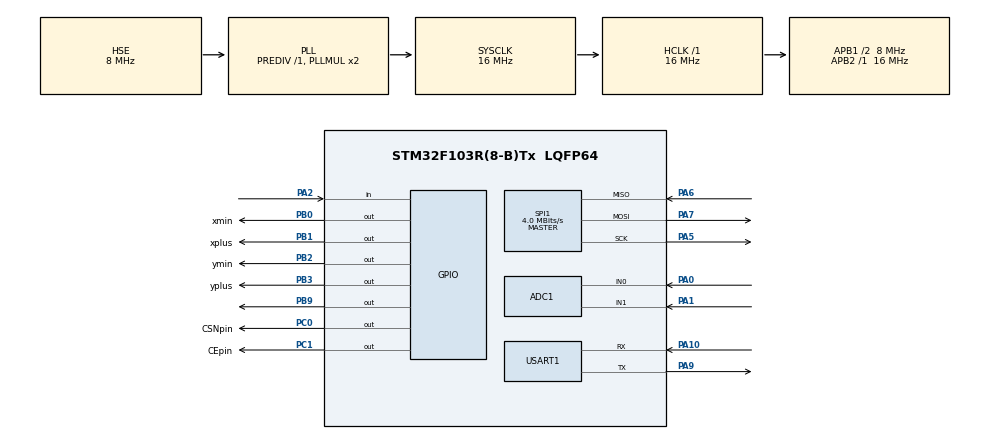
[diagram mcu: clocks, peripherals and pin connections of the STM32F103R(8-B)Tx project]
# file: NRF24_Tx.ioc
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ADC1.Channel-0\#ChannelRegularConversion=ADC_CHANNEL_0
ADC1.Channel-1\#ChannelRegularConversion=ADC_CHANNEL_1
ADC1.ContinuousConvMode=ENABLE
ADC1.NbrOfConversion=2
ADC1.NbrOfConversionFlag=1
ADC1.Rank-0\#ChannelRegularConversion=1
ADC1.Rank-1\#ChannelRegularConversion=2
ADC1.SamplingTime-0\#ChannelRegularConversion=ADC_SAMPLETIME_239CYCLES_5
ADC1.SamplingTime-1\#ChannelRegularConversion=ADC_SAMPLETIME_239CYCLES_5
ADC1.master=1
Dma.ADC1.0.Direction=DMA_PERIPH_TO_MEMORY
Dma.ADC1.0.Instance=DMA1_Channel1
Dma.ADC1.0.MemDataAlignment=DMA_MDATAALIGN_WORD
Dma.ADC1.0.MemInc=DMA_MINC_ENABLE
Dma.ADC1.0.Mode=DMA_CIRCULAR
Dma.ADC1.0.PeriphDataAlignment=DMA_PDATAALIGN_WORD
Dma.ADC1.0.PeriphInc=DMA_PINC_DISABLE
Dma.ADC1.0.Priority=DMA_PRIORITY_LOW
Dma.Request0=ADC1
Mcu.Family=STM32F1
Mcu.Name=STM32F103R(8-B)Tx
Mcu.Package=LQFP64
NVIC.DMA1_Channel1_IRQn=true\:0\:0\:false\:false\:true\:false\:true\:true
NVIC.PriorityGroup=NVIC_PRIORITYGROUP_4
PA0-WKUP.Signal=ADCx_IN0
PA1.Signal=ADCx_IN1
PA10.Mode=Asynchronous
PA10.Signal=USART1_RX
PA13.Mode=Serial_Wire
PA13.Signal=SYS_JTMS-SWDIO
PA14.Mode=Serial_Wire
PA14.Signal=SYS_JTCK-SWCLK
PA2.GPIO_PuPd=GPIO_PULLUP
PA2.Signal=GPIO_Input
PA5.Mode=Full_Duplex_Master
PA5.Signal=SPI1_SCK
PA6.Mode=Full_Duplex_Master
PA6.Signal=SPI1_MISO
PA7.Mode=Full_Duplex_Master
PA7.Signal=SPI1_MOSI
PA9.Mode=Asynchronous
PA9.Signal=USART1_TX
PB0.GPIO_Label=xmin
PB0.Signal=GPIO_Output
PB1.GPIO_Label=xplus
PB1.Signal=GPIO_Output
PB2.GPIO_Label=ymin
PB2.Signal=GPIO_Output
PB3.GPIO_Label=yplus
PB3.Signal=GPIO_Output
PB9.Signal=GPIO_Output
PC0.GPIO_Label=CSNpin
PC0.Signal=GPIO_Output
PC1.GPIO_Label=CEpin
PC1.Signal=GPIO_Output
PD0-OSC_IN.Mode=HSE-External-Oscillator
PD0-OSC_IN.Signal=RCC_OSC_IN
PD1-OSC_OUT.Mode=HSE-External-Oscillator
PD1-OSC_OUT.Signal=RCC_OSC_OUT
ProjectManager.HeapSize=0x200
ProjectManager.StackSize=0x400
ProjectManager.TargetToolchain=MDK-ARM V5
RCC.AHBFreq_Value=16000000
RCC.APB1CLKDivider=RCC_HCLK_DIV2
RCC.APB1Freq_Value=8000000
RCC.APB1TimFreq_Value=16000000
RCC.APB2Freq_Value=16000000
RCC.APB2TimFreq_Value=16000000
RCC.HCLKFreq_Value=16000000
RCC.PLLSourceVirtual=RCC_PLLSOURCE_HSE
RCC.SYSCLKFreq_VALUE=16000000
RCC.SYSCLKSource=RCC_SYSCLKSOURCE_PLLCLK
RCC.USBFreq_Value=16000000
SH.ADCx_IN0.0=ADC1_IN0,IN0
SH.ADCx_IN1.0=ADC1_IN1,IN1
SPI1.BaudRatePrescaler=SPI_BAUDRATEPRESCALER_4
SPI1.CalculateBaudRate=4.0 MBits/s
SPI1.Direction=SPI_DIRECTION_2LINES
SPI1.Mode=SPI_MODE_MASTER
SPI1.VirtualType=VM_MASTER
USART1.VirtualMode=VM_ASYNC
board=custom

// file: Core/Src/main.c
/* USER CODE BEGIN Header */
/**
  ******************************************************************************
  * @file           : main.c
  * @brief          : Main program body
  ******************************************************************************
  * @attention
  *
  * Copyright (c) 2022 STMicroelectronics.
  * All rights reserved.
  *
  * This software is licensed under terms that can be found in the LICENSE file
  * in the root directory of this software component.
  * If no LICENSE file comes with this software, it is provided AS-IS.
  *
  ******************************************************************************
  */
/* USER CODE END Header */
#include "main.h"

/* USER CODE BEGIN Includes */
#include "MY_NRF24.h"
#include "Button.h"
/* USER CODE END Includes */

/* USER CODE BEGIN PTD */
typedef enum
{
	OTHER,
	JOYSTICK_Sta,
} JOYSTICK_State;
/* USER CODE END PTD */

ADC_HandleTypeDef hadc1;
DMA_HandleTypeDef hdma_adc1;

SPI_HandleTypeDef hspi1;

UART_HandleTypeDef huart1;

/* USER CODE BEGIN PV */
Button_Typdef but1;
JOYSTICK_State joy_state = OTHER;
uint32_t JOYSTICK[2];

uint8_t test;
uint64_t TxpipeAddrs = 0x11223344AA;
char myTxData[32];
char AckPayload[32];
/* USER CODE END PV */

void SystemClock_Config(void);
static void MX_GPIO_Init(void);
static void MX_DMA_Init(void);
static void MX_SPI1_Init(void);
static void MX_USART1_UART_Init(void);
static void MX_ADC1_Init(void);

/* USER CODE BEGIN 0 */

// ---------------------------- 1. ADC Processing and Return control characters --------------------------
uint8_t JOYSTICK_handle(void)
{
	if ((JOYSTICK[0] >= 2000 && JOYSTICK[0] <= 3000) && (JOYSTICK[1] >= 2000 && JOYSTICK[1] <= 3000))
	{
		HAL_GPIO_WritePin(xmin_GPIO_Port, xmin_Pin, GPIO_PIN_SET);
		HAL_GPIO_WritePin(xplus_GPIO_Port, xplus_Pin, GPIO_PIN_SET);
		HAL_GPIO_WritePin(ymin_GPIO_Port, ymin_Pin, GPIO_PIN_SET);
		HAL_GPIO_WritePin(yplus_GPIO_Port, yplus_Pin, GPIO_PIN_SET);
		return 'S';
	}

	if (JOYSTICK[0] < 2000 && JOYSTICK[1] >= 2000 && JOYSTICK[1] <= 3000)
	{
		HAL_GPIO_WritePin(xmin_GPIO_Port, xmin_Pin, GPIO_PIN_RESET);
		HAL_GPIO_WritePin(xplus_GPIO_Port, xplus_Pin, GPIO_PIN_SET);
		return 'R';
	}

	if (JOYSTICK[0] > 3000 && JOYSTICK[1] >= 2000 && JOYSTICK[1] <= 3000)
	{
		HAL_GPIO_WritePin(xmin_GPIO_Port, xmin_Pin, GPIO_PIN_SET);
		HAL_GPIO_WritePin(xplus_GPIO_Port, xplus_Pin, GPIO_PIN_RESET);
		return 'L';
	}

	if (JOYSTICK[1] < 2000 && JOYSTICK[0] >= 2000 && JOYSTICK[0] <= 3000)
	{
		HAL_GPIO_WritePin(ymin_GPIO_Port, ymin_Pin, GPIO_PIN_RESET);
		HAL_GPIO_WritePin(yplus_GPIO_Port, yplus_Pin, GPIO_PIN_SET);
		return 'B';
	}

	if (JOYSTICK[1] > 3000 && JOYSTICK[0] >= 2000 && JOYSTICK[0] <= 3000)
	{
		HAL_GPIO_WritePin(ymin_GPIO_Port, ymin_Pin, GPIO_PIN_SET);
		HAL_GPIO_WritePin(yplus_GPIO_Port, yplus_Pin, GPIO_PIN_RESET);
		return 'F';
	}
	return 0;
}
// -----------------------------------------------------------------------------------------------

// -------------- 2. Converting Button function bewteen Bluetooth and NRF24L01 --------------------
void	btn_pressing_callback(Button_Typdef *ButtonX)
{
	static uint8_t count_key = 0;
	switch (joy_state)
	{
		case OTHER:
		{
			if (count_key == 0)
			{
				joy_state = JOYSTICK_Sta;
				count_key = 1;
			}
			break;
		}
		case JOYSTICK_Sta:
		{
			if (count_key == 1)
			{
				joy_state = OTHER;
				count_key = 0;
				HAL_GPIO_WritePin(xmin_GPIO_Port, xmin_Pin, GPIO_PIN_RESET);
				HAL_GPIO_WritePin(xplus_GPIO_Port, xplus_Pin, GPIO_PIN_RESET);
				HAL_GPIO_WritePin(ymin_GPIO_Port, ymin_Pin, GPIO_PIN_RESET);
				HAL_GPIO_WritePin(yplus_GPIO_Port, yplus_Pin, GPIO_PIN_RESET);
			}
			break;
		}
	}
	HAL_GPIO_TogglePin(GPIOB, GPIO_PIN_9);
}
// -----------------------------------------------------------------------------------------------

/* USER CODE END 0 */

int main(void)
{

  /* MCU Configuration--------------------------------------------------------*/

  /* Reset of all peripherals, Initializes the Flash interface and the Systick. */
  HAL_Init();

  /* Configure the system clock */
  SystemClock_Config();

  /* Initialize all configured peripherals */
  MX_GPIO_Init();
  MX_DMA_Init();
  MX_SPI1_Init();
  MX_USART1_UART_Init();
  MX_ADC1_Init();
  /* USER CODE BEGIN 2 */

	// Initialize a Button
	button_init(&but1, GPIOA, GPIO_PIN_2);

	// Initialize system state
	joy_state = OTHER;

	// Initialize NRF24L01 in Transmit mode, noAck
	NRF24_begin(CEpin_GPIO_Port, CSNpin_Pin, CEpin_Pin, hspi1);

	NRF24_stopListening();
	NRF24_openWritingPipe(TxpipeAddrs);
	NRF24_setAutoAck(false);
	NRF24_setChannel(52);
	NRF24_setPayloadSize(32);

	NRF24_enableDynamicPayloads();
	NRF24_enableAckPayload();

	// Starting Calibration ADC
	HAL_ADCEx_Calibration_Start(&hadc1);

	// Starting DMA for ADC with 2 channel
	HAL_ADC_Start_DMA(&hadc1, JOYSTICK, 2); // Direct Memory Access
  /* USER CODE END 2 */

  /* Infinite loop */
  while (1)
  {

    /* USER CODE BEGIN 3 */

		// Polling 2 state
		switch (joy_state)
		{
			case OTHER:
			{
				// In Bluetooth mode
				NRF24_write("O", 32);
				HAL_Delay(50);
				break;
			}
			case JOYSTICK_Sta:
			{
				// In NRF24L01 mode
				myTxData[0] = (char)JOYSTICK_handle();
				myTxData[1] = '\0';
				NRF24_write(myTxData, 32);
				HAL_Delay(50);
				break;
			}
		}
		// Polling button
		button_handle(&but1);

  }
  /* USER CODE END 3 */
}

void SystemClock_Config(void)
{
  RCC_OscInitTypeDef RCC_OscInitStruct = {0};
  RCC_ClkInitTypeDef RCC_ClkInitStruct = {0};
  RCC_PeriphCLKInitTypeDef PeriphClkInit = {0};

  /** Initializes the RCC Oscillators according to the specified parameters
  * in the RCC_OscInitTypeDef structure.
  */
  RCC_OscInitStruct.OscillatorType = RCC_OSCILLATORTYPE_HSE;
  RCC_OscInitStruct.HSEState = RCC_HSE_ON;
  RCC_OscInitStruct.HSEPredivValue = RCC_HSE_PREDIV_DIV1;
  RCC_OscInitStruct.HSIState = RCC_HSI_ON;
  RCC_OscInitStruct.PLL.PLLState = RCC_PLL_ON;
  RCC_OscInitStruct.PLL.PLLSource = RCC_PLLSOURCE_HSE;
  RCC_OscInitStruct.PLL.PLLMUL = RCC_PLL_MUL2;
  if (HAL_RCC_OscConfig(&RCC_OscInitStruct) != HAL_OK)
  {
    Error_Handler();
  }

  /** Initializes the CPU, AHB and APB buses clocks
  */
  RCC_ClkInitStruct.ClockType = RCC_CLOCKTYPE_HCLK|RCC_CLOCKTYPE_SYSCLK
                              |RCC_CLOCKTYPE_PCLK1|RCC_CLOCKTYPE_PCLK2;
  RCC_ClkInitStruct.SYSCLKSource = RCC_SYSCLKSOURCE_PLLCLK;
  RCC_ClkInitStruct.AHBCLKDivider = RCC_SYSCLK_DIV1;
  RCC_ClkInitStruct.APB1CLKDivider = RCC_HCLK_DIV2;
  RCC_ClkInitStruct.APB2CLKDivider = RCC_HCLK_DIV1;

  if (HAL_RCC_ClockConfig(&RCC_ClkInitStruct, FLASH_LATENCY_0) != HAL_OK)
  {
    Error_Handler();
  }
  PeriphClkInit.PeriphClockSelection = RCC_PERIPHCLK_ADC;
  PeriphClkInit.AdcClockSelection = RCC_ADCPCLK2_DIV2;
  if (HAL_RCCEx_PeriphCLKConfig(&PeriphClkInit) != HAL_OK)
  {
    Error_Handler();
  }
}

static void MX_ADC1_Init(void)
{

  ADC_ChannelConfTypeDef sConfig = {0};

  /** Common config
  */
  hadc1.Instance = ADC1;
  hadc1.Init.ScanConvMode = ADC_SCAN_ENABLE;
  hadc1.Init.ContinuousConvMode = ENABLE;
  hadc1.Init.DiscontinuousConvMode = DISABLE;
  hadc1.Init.ExternalTrigConv = ADC_SOFTWARE_START;
  hadc1.Init.DataAlign = ADC_DATAALIGN_RIGHT;
  hadc1.Init.NbrOfConversion = 2;
  if (HAL_ADC_Init(&hadc1) != HAL_OK)
  {
    Error_Handler();
  }

  /** Configure Regular Channel
  */
  sConfig.Channel = ADC_CHANNEL_0;
  sConfig.Rank = ADC_REGULAR_RANK_1;
  sConfig.SamplingTime = ADC_SAMPLETIME_239CYCLES_5;
  if (HAL_ADC_ConfigChannel(&hadc1, &sConfig) != HAL_OK)
  {
    Error_Handler();
  }

  /** Configure Regular Channel
  */
  sConfig.Channel = ADC_CHANNEL_1;
  sConfig.Rank = ADC_REGULAR_RANK_2;
  if (HAL_ADC_ConfigChannel(&hadc1, &sConfig) != HAL_OK)
  {
    Error_Handler();
  }

}

static void MX_SPI1_Init(void)
{

  /* SPI1 parameter configuration*/
  hspi1.Instance = SPI1;
  hspi1.Init.Mode = SPI_MODE_MASTER;
  hspi1.Init.Direction = SPI_DIRECTION_2LINES;
  hspi1.Init.DataSize = SPI_DATASIZE_8BIT;
  hspi1.Init.CLKPolarity = SPI_POLARITY_LOW;
  hspi1.Init.CLKPhase = SPI_PHASE_1EDGE;
  hspi1.Init.NSS = SPI_NSS_SOFT;
  hspi1.Init.BaudRatePrescaler = SPI_BAUDRATEPRESCALER_4;
  hspi1.Init.FirstBit = SPI_FIRSTBIT_MSB;
  hspi1.Init.TIMode = SPI_TIMODE_DISABLE;
  hspi1.Init.CRCCalculation = SPI_CRCCALCULATION_DISABLE;
  hspi1.Init.CRCPolynomial = 10;
  if (HAL_SPI_Init(&hspi1) != HAL_OK)
  {
    Error_Handler();
  }

}

static void MX_USART1_UART_Init(void)
{

  huart1.Instance = USART1;
  huart1.Init.BaudRate = 115200;
  huart1.Init.WordLength = UART_WORDLENGTH_8B;
  huart1.Init.StopBits = UART_STOPBITS_1;
  huart1.Init.Parity = UART_PARITY_NONE;
  huart1.Init.Mode = UART_MODE_TX_RX;
  huart1.Init.HwFlowCtl = UART_HWCONTROL_NONE;
  huart1.Init.OverSampling = UART_OVERSAMPLING_16;
  if (HAL_UART_Init(&huart1) != HAL_OK)
  {
    Error_Handler();
  }

}

static void MX_DMA_Init(void)
{

  /* DMA controller clock enable */
  __HAL_RCC_DMA1_CLK_ENABLE();

  /* DMA interrupt init */
  /* DMA1_Channel1_IRQn interrupt configuration */
  HAL_NVIC_SetPriority(DMA1_Channel1_IRQn, 0, 0);
  HAL_NVIC_EnableIRQ(DMA1_Channel1_IRQn);

}

static void MX_GPIO_Init(void)
{
  GPIO_InitTypeDef GPIO_InitStruct = {0};

  /* GPIO Ports Clock Enable */
  __HAL_RCC_GPIOD_CLK_ENABLE();
  __HAL_RCC_GPIOC_CLK_ENABLE();
  __HAL_RCC_GPIOA_CLK_ENABLE();
  __HAL_RCC_GPIOB_CLK_ENABLE();

  /*Configure GPIO pin Output Level */
  HAL_GPIO_WritePin(GPIOC, CSNpin_Pin|CEpin_Pin, GPIO_PIN_RESET);

  /*Configure GPIO pin Output Level */
  HAL_GPIO_WritePin(GPIOB, xmin_Pin|xplus_Pin|ymin_Pin|yplus_Pin
                          |GPIO_PIN_9, GPIO_PIN_RESET);

  /*Configure GPIO pins : CSNpin_Pin CEpin_Pin */
  GPIO_InitStruct.Pin = CSNpin_Pin|CEpin_Pin;
  GPIO_InitStruct.Mode = GPIO_MODE_OUTPUT_PP;
  GPIO_InitStruct.Pull = GPIO_NOPULL;
  GPIO_InitStruct.Speed = GPIO_SPEED_FREQ_LOW;
  HAL_GPIO_Init(GPIOC, &GPIO_InitStruct);

  /*Configure GPIO pin : PA2 */
  GPIO_InitStruct.Pin = GPIO_PIN_2;
  GPIO_InitStruct.Mode = GPIO_MODE_INPUT;
  GPIO_InitStruct.Pull = GPIO_PULLUP;
  HAL_GPIO_Init(GPIOA, &GPIO_InitStruct);

  /*Configure GPIO pins : xmin_Pin xplus_Pin ymin_Pin yplus_Pin
                           PB9 */
  GPIO_InitStruct.Pin = xmin_Pin|xplus_Pin|ymin_Pin|yplus_Pin
                          |GPIO_PIN_9;
  GPIO_InitStruct.Mode = GPIO_MODE_OUTPUT_PP;
  GPIO_InitStruct.Pull = GPIO_NOPULL;
  GPIO_InitStruct.Speed = GPIO_SPEED_FREQ_LOW;
  HAL_GPIO_Init(GPIOB, &GPIO_InitStruct);

}

void Error_Handler(void)
{
  __disable_irq();
  while (1)
  {
  }
}
